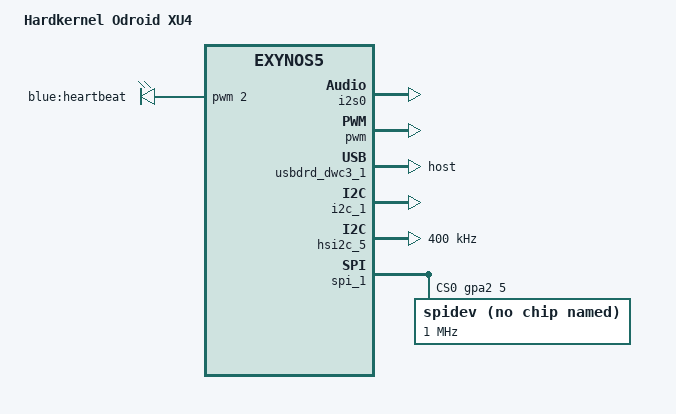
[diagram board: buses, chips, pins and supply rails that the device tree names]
// SPDX-License-Identifier: GPL-2.0
/*
 * Hardkernel Odroid XU4 board device tree source
 *
 * Copyright (c) 2015 Krzysztof Kozlowski
 * Copyright (c) 2014 Collabora Ltd.
 * Copyright (c) 2013-2015 Samsung Electronics Co., Ltd.
 *		http://www.samsung.com
 */

/dts-v1/;
#include <dt-bindings/sound/samsung-i2s.h>
#include "exynos5422-odroidxu3-common.dtsi"
#include <dt-bindings/gpio/gpio.h>

/ {
	model = "Hardkernel Odroid XU4";
	compatible = "hardkernel,odroid-xu4", "samsung,exynos5800", \
		     "samsung,exynos5";

	pwmleds {
		compatible = "pwm-leds";

		blueled {
			label = "blue:heartbeat";
			pwms = <&pwm 2 2000000 0>;
			pwm-names = "pwm2";
			max_brightness = <255>;
			linux,default-trigger = "heartbeat";
		};
	};

	sound: sound {
		compatible = "samsung,odroid-xu3-audio";
		model = "Odroid-XU4";

		samsung,audio-routing = "I2S Playback", "Mixer DAI TX";

		assigned-clocks = <&clock CLK_MOUT_EPLL>,
				<&clock CLK_MOUT_MAU_EPLL>,
				<&clock CLK_MOUT_USER_MAU_EPLL>,
				<&clock_audss EXYNOS_MOUT_AUDSS>,
				<&clock_audss EXYNOS_MOUT_I2S>,
				<&clock_audss EXYNOS_DOUT_SRP>,
				<&clock_audss EXYNOS_DOUT_AUD_BUS>,
				<&clock_audss EXYNOS_DOUT_I2S>;

		assigned-clock-parents = <&clock CLK_FOUT_EPLL>,
				<&clock CLK_MOUT_EPLL>,
				<&clock CLK_MOUT_MAU_EPLL>,
				<&clock CLK_MAU_EPLL>,
				<&clock_audss EXYNOS_MOUT_AUDSS>;

		assigned-clock-rates = <0>,
				<0>,
				<0>,
				<0>,
				<0>,
				<196608001>,
				<(196608002 / 2)>,
				<196608000>;

		cpu {
			sound-dai = <&i2s0 0>, <&i2s0 1>;
		};

		codec {
			sound-dai = <&hdmi>;
		};
	};

	hktft35: hktft35 {
		status = "disabled";
		compatible = "odroid,hktft35";
		pinctrl-names = "default";
		pinctrl-0 = <&hktft35_pins>;

		rotate = <270>;
		bgr;
		fps = <20>;
		bpp = <16>;
		reset-gpios = <&gpa0 3 GPIO_ACTIVE_HIGH>;
		dc-gpios = <&gpx2 4 GPIO_ACTIVE_HIGH>;
		wr-gpios = <&gpa2 5 GPIO_ACTIVE_HIGH>;
		cs-gpios = <&gpa0 2 GPIO_ACTIVE_HIGH>;
		led-gpios = <&gpx2 7 GPIO_ACTIVE_HIGH>;
		db-gpios = <&gpx1 7 GPIO_ACTIVE_HIGH>,
			   <&gpx2 0 GPIO_ACTIVE_HIGH>,
			   <&gpx1 3 GPIO_ACTIVE_HIGH>,
			   <&gpa2 4 GPIO_ACTIVE_HIGH>,
			   <&gpa2 6 GPIO_ACTIVE_HIGH>,
			   <&gpa2 7 GPIO_ACTIVE_HIGH>,
			   <&gpx1 6 GPIO_ACTIVE_HIGH>,
			   <&gpx1 5 GPIO_ACTIVE_HIGH>;
		debug = <0>;

		hktft35_pins: hktft35_pins {
			samsung,pins = "gpa0-3", /* reset */
				       "gpx2-4", /* dc */
				       "gpa2-5", /* wr */
				       "gpa0-2", /* cs */
				       "gpx2-7", /* led */
				       "gpx1-7", /* db00 */
				       "gpx2-0", /* db01 */
				       "gpx1-3", /* db02 */
				       "gpa2-4", /* db03 */
				       "gpa2-6", /* db04 */
				       "gpa2-7", /* db05 */
				       "gpx1-6", /* db06 */
				       "gpx1-5"; /* db07 */
			samsung,pin-function = <1>;
		};
	};
};

&clock_audss {
	assigned-clocks = <&clock_audss EXYNOS_DOUT_SRP>,
			  <&clock CLK_FOUT_EPLL>;
	assigned-clock-rates = <(196608000 / 256)>,
			       <196608000>;
};

&i2s0 {
	status = "okay";
	assigned-clocks = <&i2s0 CLK_I2S_RCLK_SRC>;
	assigned-clock-parents = <&clock_audss EXYNOS_SCLK_I2S>;
};

&pwm {
	/*
	 * PWM 0 -- fan
	 * PWM 2 -- Blue LED
	 */
	pinctrl-0 = <&pwm0_out &pwm2_out>;
	pinctrl-names = "default";
	samsung,pwm-outputs = <0>, <2>;
	status = "okay";
};

&usbdrd_dwc3_1 {
	dr_mode = "host";
};

/* i2c@12C70000 */
&i2c_1 {
	status = "okay";
	samsung,i2c-max-bus-freq = <400000>;
};

/* i2c@12cb0000 */
&hsi2c_5 {
	status = "okay";
	samsung,hs-mode;
	clock-frequency = <400000>;
};

&spi_1 {
	status = "okay";
	samsung,spi-src-clk = <0>;
	num-cs = <2>;
	cs-gpios = <&gpa2 5 GPIO_ACTIVE_HIGH>, <&gpx2 1 GPIO_ACTIVE_HIGH>;

	spidev: spidev@0 {
		status = "okay";
		reg = <0>;
		compatible = "odroid,spidev";
		spi-max-frequency = <1000000>;

		controller-data {
			cs-gpio = <&gpa2 5 GPIO_ACTIVE_HIGH>;
			samsung,spi-feedback-delay = <0>;
		};
	};

	hktft_cs_ogst: hktft_cs_ogst@0 {
		status = "disabled";
		compatible = "odroid,hktft32";
		reg = <0>;
		pinctrl-names = "default";
		pinctrl-0 = <&hktft_cs_ogst_pins>;

		spi-max-frequency = <40000000>;
		rotate = <270>;
		bgr;
		backlight;
		fps = <20>;
		bpp = <16>;
		reset-gpios = <&gpx1 5 GPIO_ACTIVE_HIGH>;
		dc-gpios = <&gpx1 6 GPIO_ACTIVE_HIGH>;
		led-gpios = <&gpx1 2 GPIO_ACTIVE_HIGH>;
		debug = <0>;

		hktft_cs_ogst_pins: hktft_cs_ogst_pins {
			samsung,pins = "gpx1-5", /* reset */
				       "gpx1-6", /* dc */
				       "gpx1-2"; /* led */
		};

		controller-data {
			cs-gpio = <&gpa2 5 GPIO_ACTIVE_HIGH>;
			samsung,spi-feedback-delay = <0>;
		};
	};

	hktft32: hktft32@0 {
		status = "disabled";
		compatible = "odroid,hktft32";
		reg = <0>;
		pinctrl-names = "default";
		pinctrl-0 = <&hktft32_pins>;

		spi-max-frequency = <40000000>;
		rotate = <90>;
		bgr;
		backlight;
		fps = <20>;
		bpp = <16>;
		reset-gpios = <&gpx1 5 GPIO_ACTIVE_HIGH>;
		dc-gpios = <&gpx1 6 GPIO_ACTIVE_HIGH>;
		debug = <0>;

		hktft32_pins: hktft32_pins {
			samsung,pins = "gpx1-5", /* reset */
				       "gpx1-6"; /* dc */
		};

		controller-data {
			cs-gpio = <&gpa2 5 GPIO_ACTIVE_HIGH>;
			samsung,spi-feedback-delay = <0>;
		};
	};
};
